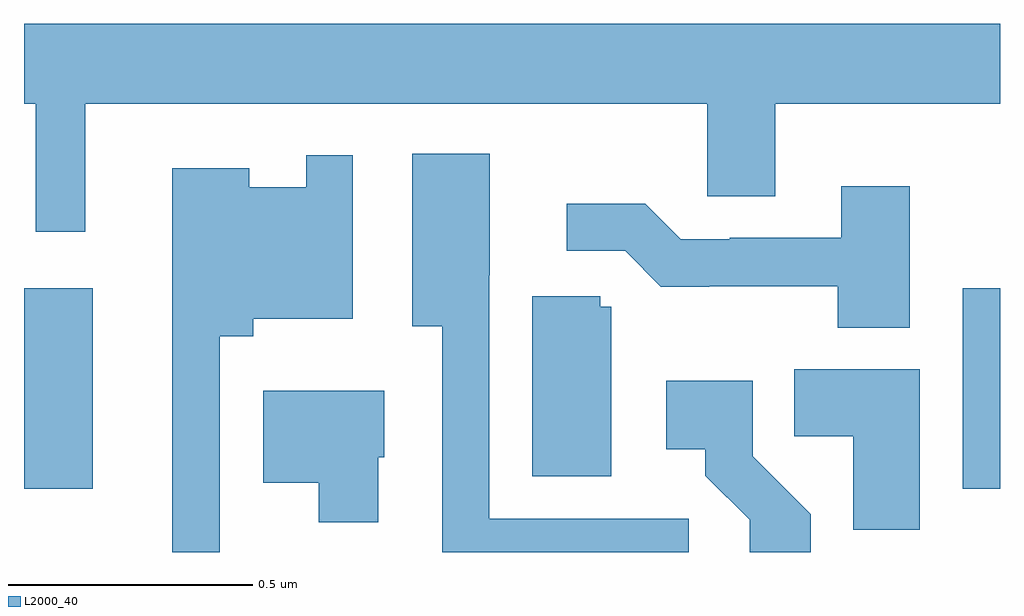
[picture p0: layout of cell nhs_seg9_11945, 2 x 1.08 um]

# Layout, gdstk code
import gdstk
lib = gdstk.Library(unit=1e-6, precision=1e-09)
def R(c, l, rs):  # rectangles x0, y0, x1, y1
    for r in rs: c.add(gdstk.rectangle(r[:2], r[2:], *l))
def P(c, l, *ps):  # polygons
    for p in ps: c.add(gdstk.Polygon(p, *l))
L2000_40 = (2000, 40)

nhs_seg9_11945 = lib.new_cell('nhs_seg9_11945')
R(nhs_seg9_11945, L2000_40, [(262,1195.631,262.141,1196.041), (263.924,1195.631,264,1196.041)])
P(nhs_seg9_11945, L2000_40, [(262.126,1196.42),(263.4,1196.42),(263.4,1196.23),(263.539,1196.23),(263.539,1196.42),(264,1196.42),(264,1196.584),(262,1196.584),(262,1196.42),(262.024,1196.42),(262.024,1196.157),(262.126,1196.157)],
  [(263.362,1195.569),(262.953,1195.569),(262.953,1196.068),(262.954,1196.068),(262.954,1196.317),(262.796,1196.317),(262.796,1195.964),(262.857,1195.964),(262.857,1195.5),(263.362,1195.5)],
  [(262.401,1195.943),(262.47,1195.943),(262.47,1195.979),(262.674,1195.979),(262.674,1196.314),(262.578,1196.314),(262.578,1196.248),(262.462,1196.248),(262.462,1196.287),(262.304,1196.287),(262.304,1195.5),(262.401,1195.5)],
  [(263.815,1196.251),(263.675,1196.251),(263.675,1196.145),(263.446,1196.145),(263.446,1196.142),(263.346,1196.142),(263.273,1196.215),(263.112,1196.215),(263.112,1196.118),(263.232,1196.118),(263.305,1196.045),(263.404,1196.045),(263.404,1196.046),(263.668,1196.046),(263.668,1195.961),(263.815,1195.961)],
  [(263.203,1196.004),(263.181,1196.004),(263.181,1196.025),(263.042,1196.025),(263.042,1195.656),(263.203,1195.656)],
  [(263.836,1195.876),(263.578,1195.876),(263.578,1195.738),(263.699,1195.738),(263.699,1195.547),(263.836,1195.547)],
  [(263.612,1195.578),(263.493,1195.697),(263.493,1195.852),(263.316,1195.852),(263.316,1195.712),(263.396,1195.712),(263.396,1195.657),(263.487,1195.567),(263.487,1195.5),(263.612,1195.5)],
  [(262.726,1195.695),(262.738,1195.695),(262.738,1195.831),(262.49,1195.831),(262.49,1195.643),(262.604,1195.643),(262.604,1195.562),(262.726,1195.562)])

lib.write_gds('nhs_seg9_11945.gds')
